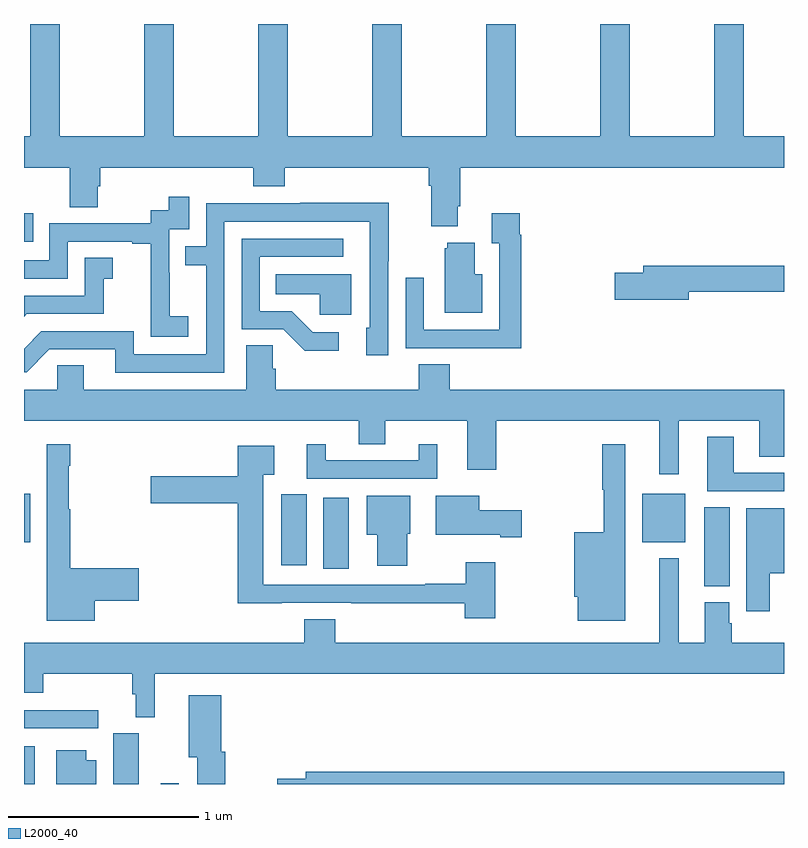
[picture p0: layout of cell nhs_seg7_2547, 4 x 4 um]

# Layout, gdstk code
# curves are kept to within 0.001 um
import gdstk
lib = gdstk.Library(unit=1e-6, precision=1e-09)
def R(c, l, rs):  # rectangles x0, y0, x1, y1
    for r in rs: c.add(gdstk.rectangle(r[:2], r[2:], *l))
def P(c, l, *ps):  # polygons
    for p in ps: c.add(gdstk.Polygon(p, *l))
L2000_40 = (2000, 40)

nhs_seg7_2547 = lib.new_cell('nhs_seg7_2547')
R(nhs_seg7_2547, L2000_40, [(277,1036,277.057,1036.198), (277.469,1036,277.603,1036.266), (277.719,1036,277.815,1036.003), (277,1036.293,277.39,1036.389), (280.58,1037.041,280.714,1037.456), (278.576,1037.134,278.71,1037.506), (278.354,1037.151,278.488,1037.526), (277,1037.273,277.033,1037.527), (280.253,1037.273,280.48,1037.527), (277,1038.855,277.049,1039.003)])
P(nhs_seg7_2547, L2000_40, [(279.283,1039.042),(279.296,1039.042),(279.296,1039.244),(281,1039.244),(281,1039.408),(280.788,1039.408),(280.788,1040),(280.633,1040),(280.633,1039.408),(280.188,1039.408),(280.188,1040),(280.033,1040),(280.033,1039.408),(279.588,1039.408),(279.588,1040),(279.433,1040),(279.433,1039.408),(278.988,1039.408),(278.988,1040),(278.833,1040),(278.833,1039.408),(278.388,1039.408),(278.388,1040),(278.233,1040),(278.233,1039.408),(277.788,1039.408),(277.788,1040),(277.633,1040),(277.633,1039.408),(277.188,1039.408),(277.188,1040),(277.033,1040),(277.033,1039.408),(277,1039.408),(277,1039.244),(277.24,1039.244),(277.24,1039.036),(277.387,1039.036),(277.387,1039.146),(277.4,1039.146),(277.4,1039.244),(278.207,1039.244),(278.207,1039.145),(278.372,1039.145),(278.372,1039.244),(279.131,1039.244),(279.131,1039.148),(279.143,1039.148),(279.143,1038.935),(279.283,1038.935)],
  [(277.864,1038.463),(277.766,1038.463),(277.766,1038.692),(277.764,1038.692),(277.764,1038.921),(277.869,1038.921),(277.869,1039.09),(277.761,1039.09),(277.761,1039.02),(277.668,1039.02),(277.668,1038.951),(277.134,1038.951),(277.134,1038.756),(277,1038.756),(277,1038.66),(277.23,1038.66),(277.23,1038.855),(277.571,1038.855),(277.571,1038.843),(277.667,1038.843),(277.667,1038.559),(277.666,1038.559),(277.666,1038.353),(277.864,1038.353)],
  [(278.055,1038.96),(278.819,1038.96),(278.82,1038.402),(278.801,1038.402),(278.801,1038.257),(278.916,1038.257),(278.916,1038.751),(278.919,1038.751),(278.919,1039.058),(278.455,1039.058),(278.455,1039.056),(277.959,1039.056),(277.959,1038.831),(277.849,1038.831),(277.849,1038.73),(277.959,1038.73),(277.959,1038.261),(277.578,1038.261),(277.578,1038.384),(277.092,1038.384),(277,1038.292),(277,1038.168),(277.014,1038.168),(277.134,1038.288),(277.481,1038.288),(277.481,1038.165),(278.055,1038.165)],
  [(279.617,1038.89),(279.61,1038.89),(279.61,1039.003),(279.461,1039.003),(279.461,1038.847),(279.501,1038.847),(279.501,1038.39),(279.105,1038.39),(279.105,1038.664),(279.009,1038.664),(279.009,1038.294),(279.325,1038.294),(279.325,1038.293),(279.617,1038.293)],
  [(278.656,1038.378),(278.521,1038.378),(278.41,1038.489),(278.241,1038.489),(278.241,1038.774),(278.68,1038.774),(278.68,1038.87),(278.145,1038.87),(278.145,1038.393),(278.364,1038.393),(278.477,1038.281),(278.656,1038.281)],
  [(279.412,1038.682),(279.373,1038.682),(279.373,1038.85),(279.227,1038.85),(279.227,1038.819),(279.215,1038.819),(279.215,1038.479),(279.412,1038.479)],
  [(277.015,1038.474),(277.419,1038.474),(277.419,1038.659),(277.468,1038.659),(277.468,1038.769),(277.32,1038.769),(277.32,1038.57),(277,1038.57),(277,1038.459)],
  [(280.498,1038.592),(281,1038.592),(281,1038.728),(280.259,1038.728),(280.259,1038.692),(280.11,1038.692),(280.11,1038.55),(280.498,1038.55)],
  [(278.722,1038.682),(278.326,1038.682),(278.326,1038.578),(278.557,1038.578),(278.557,1038.47),(278.722,1038.47)],
  [(280.447,1037.912),(280.871,1037.912),(280.871,1037.722),(281,1037.722),(281,1038.076),(279.242,1038.076),(279.242,1038.209),(279.077,1038.209),(279.077,1038.076),(278.324,1038.076),(278.324,1038.185),(278.31,1038.185),(278.31,1038.308),(278.171,1038.308),(278.171,1038.076),(277.315,1038.076),(277.315,1038.203),(277.176,1038.203),(277.176,1038.076),(277,1038.076),(277,1037.912),(278.762,1037.912),(278.762,1037.788),(278.902,1037.788),(278.902,1037.912),(279.332,1037.912),(279.332,1037.655),(279.485,1037.655),(279.485,1037.912),(280.343,1037.912),(280.343,1037.631),(280.447,1037.631)],
  [(281,1037.637),(280.735,1037.637),(280.735,1037.827),(280.595,1037.827),(280.595,1037.541),(281,1037.541)],
  [(280.165,1037.788),(280.044,1037.788),(280.044,1037.549),(280.051,1037.549),(280.051,1037.326),(279.896,1037.326),(279.896,1036.986),(279.914,1036.986),(279.914,1036.859),(280.165,1036.859)],
  [(277.372,1036.964),(277.603,1036.964),(277.603,1037.135),(277.243,1037.135),(277.243,1037.447),(277.235,1037.447),(277.235,1037.675),(277.243,1037.675),(277.243,1037.788),(277.121,1037.788),(277.121,1036.859),(277.372,1036.859)],
  [(279.175,1037.788),(279.077,1037.788),(279.077,1037.703),(278.587,1037.703),(278.587,1037.788),(278.489,1037.788),(278.489,1037.607),(279.175,1037.607)],
  [(279.48,1037.167),(279.325,1037.167),(279.325,1037.054),(279.112,1037.054),(279.112,1037.049),(278.26,1037.049),(278.26,1037.627),(278.317,1037.627),(278.317,1037.779),(278.126,1037.779),(278.126,1037.619),(277.668,1037.619),(277.668,1037.477),(278.126,1037.477),(278.126,1036.952),(278.356,1036.952),(278.356,1036.953),(278.722,1036.953),(278.722,1036.952),(279.32,1036.952),(279.32,1036.872),(279.48,1036.872)],
  [(279.619,1037.442),(279.397,1037.442),(279.397,1037.518),(279.167,1037.518),(279.167,1037.312),(279.506,1037.312),(279.506,1037.3),(279.619,1037.3)],
  [(279.016,1037.316),(279.034,1037.316),(279.034,1037.518),(278.804,1037.518),(278.804,1037.312),(278.858,1037.312),(278.858,1037.148),(279.016,1037.148)],
  [(280.924,1037.108),(281,1037.108),(281,1037.452),(280.802,1037.452),(280.802,1036.908),(280.924,1036.908)],
  [(280.711,1036.845),(280.711,1036.956),(280.583,1036.956),(280.583,1036.744),(280.447,1036.744),(280.447,1037.188),(280.343,1037.188),(280.343,1036.744),(278.639,1036.744),(278.639,1036.868),(278.474,1036.868),(278.474,1036.744),(277,1036.744),(277,1036.481),(277.1,1036.481),(277.1,1036.58),(277.57,1036.58),(277.57,1036.472),(277.589,1036.472),(277.589,1036.351),(277.688,1036.351),(277.688,1036.58),(281,1036.58),(281,1036.744),(280.724,1036.744),(280.724,1036.845)],
  [(278.059,1036.171),(278.038,1036.171),(278.038,1036.468),(277.868,1036.468),(277.868,1036.142),(277.913,1036.142),(277.913,1036),(278.059,1036)],
  [(277.381,1036.126),(277.327,1036.126),(277.327,1036.177),(277.169,1036.177),(277.169,1036),(277.381,1036)],
  [(281,1036.064),(278.483,1036.064),(278.483,1036.028),(278.334,1036.028),(278.334,1036),(281,1036)])

lib.write_gds('nhs_seg7_2547.gds')
